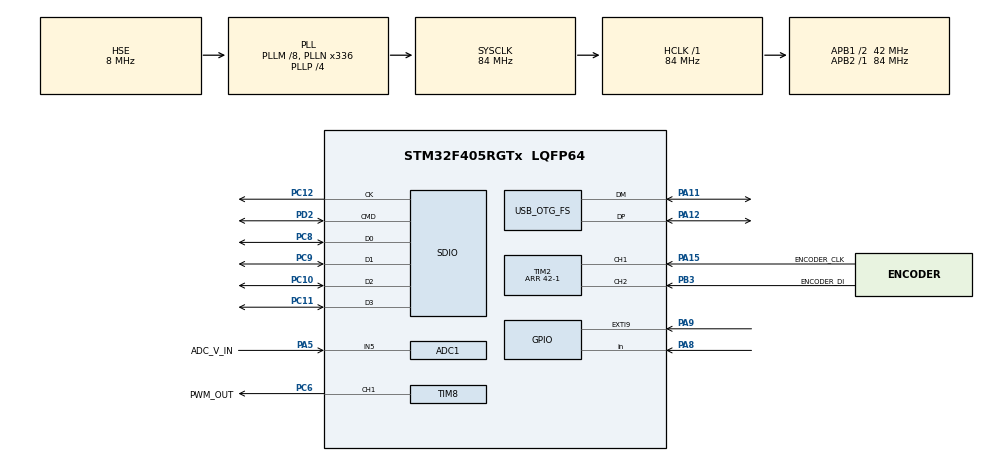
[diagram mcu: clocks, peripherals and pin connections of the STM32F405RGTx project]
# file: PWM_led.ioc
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ADC1.Channel-2\#ChannelRegularConversion=ADC_CHANNEL_5
ADC1.ExternalTrigConv=ADC_EXTERNALTRIGCONV_T3_TRGO
ADC1.NbrOfConversionFlag=1
ADC1.Rank-2\#ChannelRegularConversion=1
ADC1.SamplingTime-2\#ChannelRegularConversion=ADC_SAMPLETIME_3CYCLES
ADC1.master=1
Dma.Request0=SDIO_RX
Dma.Request1=SDIO_TX
Dma.SDIO_RX.0.Direction=DMA_PERIPH_TO_MEMORY
Dma.SDIO_RX.0.FIFOMode=DMA_FIFOMODE_ENABLE
Dma.SDIO_RX.0.FIFOThreshold=DMA_FIFO_THRESHOLD_FULL
Dma.SDIO_RX.0.Instance=DMA2_Stream3
Dma.SDIO_RX.0.MemBurst=DMA_MBURST_INC4
Dma.SDIO_RX.0.MemDataAlignment=DMA_MDATAALIGN_WORD
Dma.SDIO_RX.0.MemInc=DMA_MINC_ENABLE
Dma.SDIO_RX.0.Mode=DMA_PFCTRL
Dma.SDIO_RX.0.PeriphBurst=DMA_PBURST_INC4
Dma.SDIO_RX.0.PeriphDataAlignment=DMA_PDATAALIGN_WORD
Dma.SDIO_RX.0.PeriphInc=DMA_PINC_DISABLE
Dma.SDIO_RX.0.Priority=DMA_PRIORITY_LOW
Dma.SDIO_TX.1.Direction=DMA_MEMORY_TO_PERIPH
Dma.SDIO_TX.1.FIFOMode=DMA_FIFOMODE_ENABLE
Dma.SDIO_TX.1.FIFOThreshold=DMA_FIFO_THRESHOLD_FULL
Dma.SDIO_TX.1.Instance=DMA2_Stream6
Dma.SDIO_TX.1.MemBurst=DMA_MBURST_INC4
Dma.SDIO_TX.1.MemDataAlignment=DMA_MDATAALIGN_WORD
Dma.SDIO_TX.1.MemInc=DMA_MINC_ENABLE
Dma.SDIO_TX.1.Mode=DMA_PFCTRL
Dma.SDIO_TX.1.PeriphBurst=DMA_PBURST_INC4
Dma.SDIO_TX.1.PeriphDataAlignment=DMA_PDATAALIGN_WORD
Dma.SDIO_TX.1.PeriphInc=DMA_PINC_DISABLE
Dma.SDIO_TX.1.Priority=DMA_PRIORITY_LOW
FATFS.BSP.number=1
FATFS.USE_DMA_CODE_SD=1
FATFS._MAX_SS=512
FATFS._MIN_SS=512
FATFS0.BSP.STBoard=false
FATFS0.BSP.api=Unknown
FATFS0.BSP.instance=PA8
FATFS0.BSP.ip=GPIO
FATFS0.BSP.mode=Input
FATFS0.BSP.name=Detect_SDIO
FATFS0.BSP.solution=PA8
Mcu.Family=STM32F4
Mcu.Name=STM32F405RGTx
Mcu.Package=LQFP64
NVIC.ADC_IRQn=true\:0\:0\:false\:false\:true\:true\:true\:true
NVIC.DMA2_Stream3_IRQn=true\:0\:0\:false\:false\:true\:false\:true\:true
NVIC.DMA2_Stream6_IRQn=true\:0\:0\:false\:false\:true\:false\:true\:true
NVIC.EXTI9_5_IRQn=true\:0\:0\:false\:false\:true\:true\:true\:true
NVIC.OTG_FS_IRQn=true\:1\:0\:true\:false\:true\:false\:true\:true
NVIC.PriorityGroup=NVIC_PRIORITYGROUP_4
NVIC.SDIO_IRQn=true\:0\:0\:false\:false\:true\:true\:true\:true
NVIC.TIM2_IRQn=true\:3\:0\:true\:false\:true\:true\:true\:true
PA11.Mode=Device_Only
PA11.Signal=USB_OTG_FS_DM
PA12.Mode=Device_Only
PA12.Signal=USB_OTG_FS_DP
PA15.GPIO_Label=ENCODER_CLK
PA15.Signal=S_TIM2_CH1_ETR
PA5.GPIO_Label=ADC_V_IN
PA5.Signal=ADCx_IN5
PA8.GPIO_PuPd=GPIO_PULLDOWN
PA8.Signal=GPIO_Input
PA9.GPIO_PuPd=GPIO_NOPULL
PA9.Signal=GPXTI9
PB3.GPIO_Label=ENCODER_DI
PB3.Signal=S_TIM2_CH2
PC10.Mode=SD_4_bits_Wide_bus
PC10.Signal=SDIO_D2
PC11.Mode=SD_4_bits_Wide_bus
PC11.Signal=SDIO_D3
PC12.Mode=SD_4_bits_Wide_bus
PC12.Signal=SDIO_CK
PC6.GPIO_Label=PWM_OUT
PC6.Signal=S_TIM8_CH1
PC8.Mode=SD_4_bits_Wide_bus
PC8.Signal=SDIO_D0
PC9.Mode=SD_4_bits_Wide_bus
PC9.Signal=SDIO_D1
PD2.Mode=SD_4_bits_Wide_bus
PD2.Signal=SDIO_CMD
PH0-OSC_IN.Mode=HSE-External-Oscillator
PH0-OSC_IN.Signal=RCC_OSC_IN
PH1-OSC_OUT.Mode=HSE-External-Oscillator
PH1-OSC_OUT.Signal=RCC_OSC_OUT
ProjectManager.HeapSize=0x2000
ProjectManager.StackSize=0x2000
ProjectManager.TargetToolchain=STM32CubeIDE
RCC.48MHZClocksFreq_Value=48000000
RCC.AHBFreq_Value=84000000
RCC.APB1CLKDivider=RCC_HCLK_DIV2
RCC.APB1Freq_Value=42000000
RCC.APB1TimFreq_Value=84000000
RCC.APB2Freq_Value=84000000
RCC.APB2TimFreq_Value=84000000
RCC.CortexFreq_Value=84000000
RCC.HCLKFreq_Value=84000000
RCC.HSE_VALUE=8000000
RCC.HSI_VALUE=16000000
RCC.LSE_VALUE=32768
RCC.PLLM=8
RCC.PLLN=336
RCC.PLLP=RCC_PLLP_DIV4
RCC.PLLQ=7
RCC.SYSCLKFreq_VALUE=84000000
RCC.SYSCLKSource=RCC_SYSCLKSOURCE_PLLCLK
RCC.VCOOutputFreq_Value=336000000
SDIO.ClockDiv=4
SDIO.HardwareFlowControl=SDIO_HARDWARE_FLOW_CONTROL_DISABLE
SH.ADCx_IN5.0=ADC1_IN5,IN5
SH.S_TIM2_CH1_ETR.0=TIM2_CH1,Encoder_Interface
SH.S_TIM2_CH2.0=TIM2_CH2,Encoder_Interface
SH.S_TIM8_CH1.0=TIM8_CH1,PWM Generation1 CH1
TIM2.Period=42-1
TIM3.Period=1000-1
TIM3.Prescaler=84-1
TIM3.TIM_MasterOutputTrigger=TIM_TRGO_UPDATE
TIM8.Channel-PWM\ Generation1\ CH1=TIM_CHANNEL_1
TIM8.OCPolarity_1=TIM_OCPOLARITY_HIGH
TIM8.Period=20-1
TIM8.Prescaler=420-1
USB_DEVICE.CLASS_NAME_FS=MSC
USB_DEVICE.VirtualMode-MSC_FS=Msc
USB_DEVICE.VirtualModeFS=Msc_FS
USB_OTG_FS.VirtualMode=Device_Only
VP_FATFS_VS_SDIO.Mode=SDIO
VP_TIM3_VS_ClockSourceINT.Mode=Internal
VP_TIM8_VS_ClockSourceINT.Mode=Internal
VP_USB_DEVICE_VS_USB_DEVICE_MSC_FS.Mode=MSC_FS
board=custom

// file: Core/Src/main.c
/* USER CODE BEGIN Header */
/**
  ******************************************************************************
  * @file           : main.c
  * @brief          : Main program body
  ******************************************************************************
  * @attention
  *
  * Copyright (c) 2024 STMicroelectronics.
  * All rights reserved.
  *
  * This software is licensed under terms that can be found in the LICENSE file
  * in the root directory of this software component.
  * If no LICENSE file comes with this software, it is provided AS-IS.
  *
  ******************************************************************************
  */
/* USER CODE END Header */
#include "main.h"
#include "adc.h"
#include "dma.h"
#include "fatfs.h"
#include "sdio.h"
#include "tim.h"
#include "gpio.h"

/* USER CODE BEGIN Includes */
#include "usbd_storage_if.h"
#include "usb_device.h"
/* USER CODE END Includes */

/* USER CODE BEGIN PD */
#define ADC_TO_VOLTAGE 0.00080564f
#define START_ADC 1
#define STOP_ADC  0
/* USER CODE END PD */

/* USER CODE BEGIN PV */
volatile uint8_t  flag_adc_cplt = 0;
volatile uint32_t adc_conv_num = 0;
volatile uint16_t adc_val = 0;
volatile uint8_t  adc_state = STOP_ADC;
/* USER CODE END PV */

void SystemClock_Config(void);

int main(void)
{

  /* MCU Configuration--------------------------------------------------------*/

  /* Reset of all peripherals, Initializes the Flash interface and the Systick. */
  HAL_Init();

  /* Configure the system clock */
  SystemClock_Config();

  /* Initialize all configured peripherals */
  MX_GPIO_Init();
  MX_DMA_Init();
  MX_ADC1_Init();
  MX_TIM2_Init();
  MX_TIM8_Init();
  MX_TIM3_Init();
  MX_SDIO_SD_Init();
  /* USER CODE BEGIN 2 */
  MX_USB_DEVICE_Init();
  USBD_Stop(&hUsbDeviceFS);
  MX_FATFS_Init();

  HAL_Delay(1000);
  /* Register the file system object to the FatFs module */
  retSD = (f_mount(&SDFatFS, (TCHAR const*)SDPath, 0) != FR_OK);
  if(retSD != FR_OK){
  /* FatFs Initialization Error */
	  Error_Handler();
  }

  HAL_TIM_PWM_Start(&htim8, TIM_CHANNEL_1);
  HAL_TIM_Encoder_Start_IT(&htim2, TIM_CHANNEL_1);
//  HAL_ADC_Start_IT(&hadc1);
  HAL_TIM_Base_Start(&htim3);
  /* USER CODE END 2 */

  /* Infinite loop */
  /* USER CODE BEGIN WHILE */
  while (1)
  {
	  if(adc_state == START_ADC){
		  /* Stop the USB Device Core */
		  USBD_Stop(&hUsbDeviceFS);
		  /* Create and Open a new text file object with write access */
		  retSD = f_open(&SDFile, "ADC_DATA.csv", FA_CREATE_ALWAYS | FA_WRITE);
		  if(retSD != FR_OK){
	      /* 'ADC_DATA.csv' file Open for write Error */
			  Error_Handler();
		  }
		  /* Writing ADC conversion results to file */
		  while ((adc_conv_num < 10000)&&(adc_state == START_ADC)){
			  if (flag_adc_cplt){
				  static char str_val[20];
				  sprintf (str_val, "%lu; %f", (adc_conv_num*100), (float)(adc_val*ADC_TO_VOLTAGE));
				  f_printf(&SDFile, "%s\n", str_val);
				  flag_adc_cplt = 0;
				  adc_conv_num++;
			  }
		  }
		  /* Close the open text file */
		  f_close(&SDFile);
		  adc_conv_num = 0;
		  adc_state = STOP_ADC;
		  /* Start the USB Device Core */
		  USBD_Start(&hUsbDeviceFS);
	  }

    /* USER CODE END WHILE */

  }
}

void SystemClock_Config(void)
{
  RCC_OscInitTypeDef RCC_OscInitStruct = {0};
  RCC_ClkInitTypeDef RCC_ClkInitStruct = {0};

  /** Configure the main internal regulator output voltage
  */
  __HAL_RCC_PWR_CLK_ENABLE();
  __HAL_PWR_VOLTAGESCALING_CONFIG(PWR_REGULATOR_VOLTAGE_SCALE1);

  /** Initializes the RCC Oscillators according to the specified parameters
  * in the RCC_OscInitTypeDef structure.
  */
  RCC_OscInitStruct.OscillatorType = RCC_OSCILLATORTYPE_HSE;
  RCC_OscInitStruct.HSEState = RCC_HSE_ON;
  RCC_OscInitStruct.PLL.PLLState = RCC_PLL_ON;
  RCC_OscInitStruct.PLL.PLLSource = RCC_PLLSOURCE_HSE;
  RCC_OscInitStruct.PLL.PLLM = 8;
  RCC_OscInitStruct.PLL.PLLN = 336;
  RCC_OscInitStruct.PLL.PLLP = RCC_PLLP_DIV4;
  RCC_OscInitStruct.PLL.PLLQ = 7;
  if (HAL_RCC_OscConfig(&RCC_OscInitStruct) != HAL_OK)
  {
    Error_Handler();
  }

  /** Initializes the CPU, AHB and APB buses clocks
  */
  RCC_ClkInitStruct.ClockType = RCC_CLOCKTYPE_HCLK|RCC_CLOCKTYPE_SYSCLK
                              |RCC_CLOCKTYPE_PCLK1|RCC_CLOCKTYPE_PCLK2;
  RCC_ClkInitStruct.SYSCLKSource = RCC_SYSCLKSOURCE_PLLCLK;
  RCC_ClkInitStruct.AHBCLKDivider = RCC_SYSCLK_DIV1;
  RCC_ClkInitStruct.APB1CLKDivider = RCC_HCLK_DIV2;
  RCC_ClkInitStruct.APB2CLKDivider = RCC_HCLK_DIV1;

  if (HAL_RCC_ClockConfig(&RCC_ClkInitStruct, FLASH_LATENCY_2) != HAL_OK)
  {
    Error_Handler();
  }
}

/* USER CODE BEGIN 4 */
void HAL_TIM_IC_CaptureCallback(TIM_HandleTypeDef *htim){
	static uint8_t cnt = 0;
	cnt = __HAL_TIM_GET_COUNTER(&htim2);
	TIM8->CCR1 = cnt>>1;
}

void HAL_ADC_ConvCpltCallback(ADC_HandleTypeDef* hadc){
	adc_val = HAL_ADC_GetValue(&hadc1);
	flag_adc_cplt = 1;
}

void HAL_GPIO_EXTI_Callback(uint16_t GPIO_Pin){
	if (adc_state == STOP_ADC){
		HAL_ADC_Start_IT(&hadc1);
		adc_state = START_ADC;
	}
	else{
		HAL_ADC_Stop_IT(&hadc1);
		adc_state = STOP_ADC;
		}
}
/*
int _write(int file, char *ptr, int len){
	static uint8_t usb_flag = USBD_OK;

	do{
		CDC_Transmit_FS((uint8_t*)ptr, len);
	}while(USBD_BUSY == usb_flag);
	return len;
}
*/
/* USER CODE END 4 */

void Error_Handler(void)
{
  __disable_irq();
  while (1)
  {
  }
}
